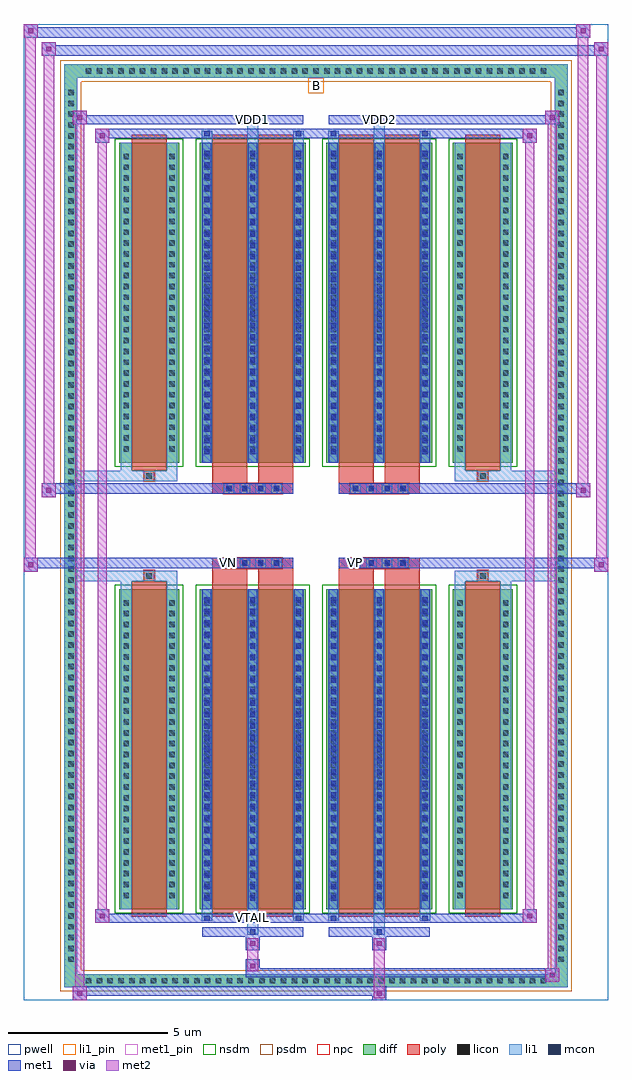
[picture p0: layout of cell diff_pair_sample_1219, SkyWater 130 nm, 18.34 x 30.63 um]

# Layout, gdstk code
import gdstk
lib = gdstk.Library(unit=1e-6, precision=5e-09)
def R(c, l, rs):  # rectangles x0, y0, x1, y1
    for r in rs: c.add(gdstk.rectangle(r[:2], r[2:], *l))
def A(c, l, x, y, w, h, nx, ny, dx, dy):  # array of equal rectangles
    R(c, l, [(x+i*dx, y+j*dy, x+i*dx+w, y+j*dy+h) for i in range(nx) for j in range(ny)])
def P(c, l, *ps):  # polygons
    for p in ps: c.add(gdstk.Polygon(p, *l))
pwell = (64, 44)
diff = (65, 20)
poly = (66, 20)
licon = (66, 44)
li1_pin = (67, 16)
li1 = (67, 20)
mcon = (67, 44)
met1_pin = (68, 16)
met1 = (68, 20)
via = (68, 44)
met2 = (69, 20)
nsdm = (93, 44)
psdm = (94, 20)
npc = (95, 20)

diff_pair_sample_1219 = lib.new_cell('diff_pair_sample_1219')
R(diff_pair_sample_1219, pwell, [(-9.17,-14.88,9.17,15.75), (-6.49,-13.07,-0.01,-0.805), (0.01,-13.07,6.49,-0.805), (-6.49,0.805,-0.01,13.07), (0.01,0.805,6.49,13.07)])
A(diff_pair_sample_1219, diff, -7.345, -14.48, 0.41, 0.41, 43, 2, 0.34, 28.55)
A(diff_pair_sample_1219, diff, -7.9, -13.805, 0.41, 0.41, 1, 81, 0, 0.34)
A(diff_pair_sample_1219, diff, 7.49, -13.805, 0.41, 0.41, 1, 81, 0, 0.34)
R(diff_pair_sample_1219, diff, [(-7.345,-14.48,7.345,-14.07), (-7.9,-13.805,-7.49,13.805), (7.49,-13.805,7.9,13.805), (-6.18,-12.025,-4.29,-1.985), (-3.65,-12.025,-0.32,-1.985), (0.32,-12.025,3.65,-1.985), (4.29,-12.025,6.18,-1.985), (-6.18,1.985,-4.29,12.025), (-3.65,1.985,-0.32,12.025), (0.32,1.985,3.65,12.025), (4.29,1.985,6.18,12.025), (-7.345,14.07,7.345,14.48)])
P(diff_pair_sample_1219, diff, [(7.9,14.48),(-7.9,14.48),(-7.9,-14.07),(-7.49,-14.07),(-7.49,14.07),(7.49,14.07),(7.49,-14.07),(-7.49,-14.07),(-7.9,-14.07),(-7.9,-14.48),(7.9,-14.48)])
A(diff_pair_sample_1219, poly, -2.9, -1.335, 0.33, 0.33, 4, 2, 0.5, 2.34)
A(diff_pair_sample_1219, poly, 1.07, -1.335, 0.33, 0.33, 4, 2, 0.5, 2.34)
R(diff_pair_sample_1219, poly, [(-5.79,-12.275,-4.68,-1.735), (-3.26,-12.275,-2.15,-1.735), (-1.82,-12.275,-0.71,-1.735), (0.71,-12.275,1.82,-1.735), (2.15,-12.275,3.26,-1.735), (4.68,-12.275,5.79,-1.735), (-5.4,-1.735,-5.07,-1.405), (-5.4,-1.735,-5.07,-1.405), (-3.26,-1.735,-2.15,-1.335), (-1.82,-1.735,-0.71,-1.335), (0.71,-1.735,1.82,-1.335), (2.15,-1.735,3.26,-1.335), (5.07,-1.735,5.4,-1.405), (5.07,-1.735,5.4,-1.405), (-3.26,-1.335,-0.71,-1.005), (0.71,-1.335,3.26,-1.005), (-3.26,1.005,-0.71,1.335), (0.71,1.005,3.26,1.335), (-3.26,1.335,-2.15,1.735), (-1.82,1.335,-0.71,1.735), (0.71,1.335,1.82,1.735), (2.15,1.335,3.26,1.735), (-5.4,1.405,-5.07,1.735), (-5.4,1.405,-5.07,1.735), (5.07,1.405,5.4,1.735), (5.07,1.405,5.4,1.735), (-5.79,1.735,-4.68,12.275), (-3.26,1.735,-2.15,12.275), (-1.82,1.735,-0.71,12.275), (0.71,1.735,1.82,12.275), (2.15,1.735,3.26,12.275), (4.68,1.735,5.79,12.275)])
A(diff_pair_sample_1219, licon, -7.225, -14.36, 0.17, 0.17, 43, 2, 0.34, 28.55)
A(diff_pair_sample_1219, licon, -7.78, -13.685, 0.17, 0.17, 1, 81, 0, 0.34)
A(diff_pair_sample_1219, licon, 7.61, -13.685, 0.17, 0.17, 1, 81, 0, 0.34)
A(diff_pair_sample_1219, licon, -6.04, -11.68, 0.17, 0.17, 1, 28, 0, 0.34)
A(diff_pair_sample_1219, licon, -4.6, -11.68, 0.17, 0.17, 1, 28, 0, 0.34)
A(diff_pair_sample_1219, licon, -3.51, -11.68, 0.17, 0.17, 3, 28, 1.44, 0.34)
A(diff_pair_sample_1219, licon, 0.46, -11.68, 0.17, 0.17, 3, 28, 1.44, 0.34)
A(diff_pair_sample_1219, licon, 4.43, -11.68, 0.17, 0.17, 1, 28, 0, 0.34)
A(diff_pair_sample_1219, licon, 5.87, -11.68, 0.17, 0.17, 1, 28, 0, 0.34)
A(diff_pair_sample_1219, licon, -2.82, -1.255, 0.17, 0.17, 4, 2, 0.5, 2.34)
A(diff_pair_sample_1219, licon, 1.15, -1.255, 0.17, 0.17, 4, 2, 0.5, 2.34)
A(diff_pair_sample_1219, licon, -6.04, 2.33, 0.17, 0.17, 1, 28, 0, 0.34)
A(diff_pair_sample_1219, licon, -4.6, 2.33, 0.17, 0.17, 1, 28, 0, 0.34)
A(diff_pair_sample_1219, licon, -3.51, 2.33, 0.17, 0.17, 3, 28, 1.44, 0.34)
A(diff_pair_sample_1219, licon, 0.46, 2.33, 0.17, 0.17, 3, 28, 1.44, 0.34)
A(diff_pair_sample_1219, licon, 4.43, 2.33, 0.17, 0.17, 1, 28, 0, 0.34)
A(diff_pair_sample_1219, licon, 5.87, 2.33, 0.17, 0.17, 1, 28, 0, 0.34)
R(diff_pair_sample_1219, licon, [(-5.32,-1.655,-5.15,-1.485), (5.15,-1.655,5.32,-1.485), (-5.32,1.485,-5.15,1.655), (5.15,1.485,5.32,1.655)])
R(diff_pair_sample_1219, li1_pin, [(-0.25,13.57,0.25,14.07)])
A(diff_pair_sample_1219, li1, -7.305, -14.44, 0.33, 0.33, 43, 2, 0.34, 28.55)
A(diff_pair_sample_1219, li1, -7.86, -13.765, 0.33, 0.33, 1, 81, 0, 0.34)
A(diff_pair_sample_1219, li1, 7.53, -13.765, 0.33, 0.33, 1, 81, 0, 0.34)
A(diff_pair_sample_1219, li1, -3.59, -12.025, 0.33, 10.04, 3, 2, 1.44, 14.01)
A(diff_pair_sample_1219, li1, 0.38, -12.025, 0.33, 10.04, 3, 2, 1.44, 14.01)
A(diff_pair_sample_1219, li1, -3.51, -11.77, 0.17, 0.17, 3, 27, 1.44, 0.36)
A(diff_pair_sample_1219, li1, -3.51, -11.77, 0.17, 9.53, 3, 2, 1.44, 14.01)
A(diff_pair_sample_1219, li1, 0.46, -11.77, 0.17, 0.17, 3, 27, 1.44, 0.36)
A(diff_pair_sample_1219, li1, 0.46, -11.77, 0.17, 9.53, 3, 2, 1.44, 14.01)
A(diff_pair_sample_1219, li1, -6.12, -11.76, 0.33, 0.33, 1, 28, 0, 0.34)
A(diff_pair_sample_1219, li1, -4.68, -11.76, 0.33, 0.33, 1, 28, 0, 0.34)
A(diff_pair_sample_1219, li1, -3.59, -11.76, 0.33, 0.33, 3, 28, 1.44, 0.34)
A(diff_pair_sample_1219, li1, 0.38, -11.76, 0.33, 0.33, 3, 28, 1.44, 0.34)
A(diff_pair_sample_1219, li1, 4.35, -11.76, 0.33, 0.33, 1, 28, 0, 0.34)
A(diff_pair_sample_1219, li1, 5.79, -11.76, 0.33, 0.33, 1, 28, 0, 0.34)
A(diff_pair_sample_1219, li1, -2.9, -1.335, 0.33, 0.33, 4, 2, 0.5, 2.34)
A(diff_pair_sample_1219, li1, 1.07, -1.335, 0.33, 0.33, 4, 2, 0.5, 2.34)
A(diff_pair_sample_1219, li1, -3.51, 2.24, 0.17, 0.17, 3, 27, 1.44, 0.36)
A(diff_pair_sample_1219, li1, 0.46, 2.24, 0.17, 0.17, 3, 27, 1.44, 0.36)
A(diff_pair_sample_1219, li1, -6.12, 2.25, 0.33, 0.33, 1, 28, 0, 0.34)
A(diff_pair_sample_1219, li1, -4.68, 2.25, 0.33, 0.33, 1, 28, 0, 0.34)
A(diff_pair_sample_1219, li1, -3.59, 2.25, 0.33, 0.33, 3, 28, 1.44, 0.34)
A(diff_pair_sample_1219, li1, 0.38, 2.25, 0.33, 0.33, 3, 28, 1.44, 0.34)
A(diff_pair_sample_1219, li1, 4.35, 2.25, 0.33, 0.33, 1, 28, 0, 0.34)
A(diff_pair_sample_1219, li1, 5.79, 2.25, 0.33, 0.33, 1, 28, 0, 0.34)
R(diff_pair_sample_1219, li1, [(-7.9,-14.48,-7.49,-14.07), (-7.9,-14.48,-7.49,-14.07), (-7.49,-14.48,7.49,-14.07), (7.49,-14.48,7.9,-14.07), (7.49,-14.48,7.9,-14.07), (-7.9,-14.07,-7.49,14.07), (7.49,-14.07,7.9,14.07), (-2.15,-12.83,-1.82,-12.025), (-2.07,-12.83,-1.9,-12.66), (1.82,-12.83,2.15,-12.025), (1.9,-12.83,2.07,-12.66), (-3.59,-12.4,-3.26,-12.025), (-3.51,-12.4,-3.34,-12.23), (-0.71,-12.4,-0.38,-12.025), (-0.63,-12.4,-0.46,-12.23), (0.38,-12.4,0.71,-12.025), (0.46,-12.4,0.63,-12.23), (3.26,-12.4,3.59,-12.025), (3.34,-12.4,3.51,-12.23), (-6.12,-12.025,-5.79,-1.985), (-4.68,-12.025,-4.35,-1.985), (4.35,-12.025,4.68,-1.985), (5.79,-12.025,6.12,-1.985), (-6.12,-1.985,-5.79,-1.405), (-4.68,-1.985,-4.35,-1.405), (4.35,-1.985,4.68,-1.405), (5.79,-1.985,6.12,-1.405), (-7.9,-1.735,-5.4,-1.405), (-6.12,-1.735,-5.4,-1.405), (-5.4,-1.735,-5.07,-1.405), (-5.07,-1.735,-4.35,-1.405), (4.35,-1.735,5.07,-1.405), (5.07,-1.735,5.4,-1.405), (5.07,-1.735,7.9,-1.405), (5.4,-1.735,6.12,-1.405), (-7.9,1.405,-5.4,1.735), (-6.12,1.405,-5.4,1.735), (-6.12,1.405,-5.79,1.985), (-5.4,1.405,-5.07,1.735), (-5.07,1.405,-4.35,1.735), (-4.68,1.405,-4.35,1.985), (4.35,1.405,5.07,1.735), (4.35,1.405,4.68,1.985), (5.07,1.405,5.4,1.735), (5.07,1.405,7.9,1.735), (5.4,1.405,6.12,1.735), (5.79,1.405,6.12,1.985), (-6.12,1.985,-5.79,12.025), (-4.68,1.985,-4.35,12.025), (4.35,1.985,4.68,12.025), (5.79,1.985,6.12,12.025), (-3.59,12.025,-3.26,12.4), (-2.15,12.025,-1.82,12.83), (-0.71,12.025,-0.38,12.4), (0.38,12.025,0.71,12.4), (1.82,12.025,2.15,12.83), (3.26,12.025,3.59,12.4), (-3.51,12.23,-3.34,12.4), (-0.63,12.23,-0.46,12.4), (0.46,12.23,0.63,12.4), (3.34,12.23,3.51,12.4), (-2.07,12.66,-1.9,12.83), (1.9,12.66,2.07,12.83), (-7.9,14.07,-7.49,14.48), (-7.9,14.07,-7.49,14.48), (-7.49,14.07,7.49,14.48), (7.49,14.07,7.9,14.48), (7.49,14.07,7.9,14.48)])
A(diff_pair_sample_1219, mcon, -3.51, -11.77, 0.17, 0.17, 3, 27, 1.44, 0.36)
A(diff_pair_sample_1219, mcon, 0.46, -11.77, 0.17, 0.17, 3, 27, 1.44, 0.36)
A(diff_pair_sample_1219, mcon, -2.82, -1.255, 0.17, 0.17, 4, 2, 0.5, 2.34)
A(diff_pair_sample_1219, mcon, 1.15, -1.255, 0.17, 0.17, 4, 2, 0.5, 2.34)
A(diff_pair_sample_1219, mcon, -3.51, 2.24, 0.17, 0.17, 3, 27, 1.44, 0.36)
A(diff_pair_sample_1219, mcon, 0.46, 2.24, 0.17, 0.17, 3, 27, 1.44, 0.36)
R(diff_pair_sample_1219, mcon, [(-2.07,-12.83,-1.9,-12.66), (1.9,-12.83,2.07,-12.66), (-3.51,-12.4,-3.34,-12.23), (-0.63,-12.4,-0.46,-12.23), (0.46,-12.4,0.63,-12.23), (3.34,-12.4,3.51,-12.23), (-3.51,12.23,-3.34,12.4), (-0.63,12.23,-0.46,12.4), (0.46,12.23,0.63,12.4), (3.34,12.23,3.51,12.4), (-2.07,12.66,-1.9,12.83), (1.9,12.66,2.07,12.83)])
R(diff_pair_sample_1219, met1_pin, [(-2.12,-12.44,-1.85,-12.17), (-2.87,-1.295,-2.6,-1.025), (1.1,-1.295,1.37,-1.025), (-2.12,12.62,-1.85,12.89), (1.85,12.62,2.12,12.89)])
A(diff_pair_sample_1219, met1, -3.57, -12.025, 0.29, 10.04, 3, 2, 1.44, 14.01)
A(diff_pair_sample_1219, met1, 0.4, -12.025, 0.29, 10.04, 3, 2, 1.44, 14.01)
A(diff_pair_sample_1219, met1, -3.57, -11.83, 0.29, 0.29, 3, 27, 1.44, 0.36)
A(diff_pair_sample_1219, met1, 0.4, -11.83, 0.29, 0.29, 3, 27, 1.44, 0.36)
A(diff_pair_sample_1219, met1, -2.88, -1.315, 0.29, 0.29, 4, 2, 0.5, 2.34)
A(diff_pair_sample_1219, met1, 1.09, -1.315, 0.29, 0.29, 4, 2, 0.5, 2.34)
A(diff_pair_sample_1219, met1, -3.57, 2.18, 0.29, 0.29, 3, 27, 1.44, 0.36)
A(diff_pair_sample_1219, met1, 0.4, 2.18, 0.29, 0.29, 3, 27, 1.44, 0.36)
R(diff_pair_sample_1219, met1, [(-7.63,-14.88,-7.2,-14.45), (1.77,-14.88,2.2,-14.45), (-7.63,-14.74,2.2,-14.45), (7.2,-14.31,7.63,-13.88), (-2.2,-14.17,7.63,-13.88), (-2.2,-14.03,-1.77,-13.6), (-2.2,-13.32,-1.77,-12.89), (1.77,-13.32,2.2,-12.89), (-3.57,-12.89,-0.4,-12.6), (-2.13,-12.89,-1.84,-12.6), (0.4,-12.89,3.57,-12.6), (1.84,-12.89,2.13,-12.6), (-6.92,-12.46,-6.49,-12.03), (-6.92,-12.46,-3.57,-12.17), (-3.57,-12.46,-3.28,-12.17), (-3.57,-12.46,-0.4,-12.17), (-0.69,-12.46,-0.4,-12.17), (-0.4,-12.46,0.4,-12.17), (0.4,-12.46,0.69,-12.17), (0.4,-12.46,3.57,-12.17), (3.28,-12.46,3.57,-12.17), (3.57,-12.46,6.92,-12.17), (6.49,-12.46,6.92,-12.03), (-9.17,-1.435,-8.74,-1.005), (8.74,-1.435,9.17,-1.005), (-9.17,-1.335,-0.71,-1.005), (-3.26,-1.335,-0.71,-1.005), (0.71,-1.335,3.26,-1.005), (0.71,-1.335,9.17,-1.005), (-8.6,0.905,-8.17,1.335), (8.17,0.905,8.6,1.335), (-8.6,1.005,-3.26,1.335), (-3.26,1.005,-0.71,1.335), (0.71,1.005,3.26,1.335), (3.26,1.005,8.6,1.335), (-6.92,12.03,-6.49,12.46), (6.49,12.03,6.92,12.46), (-6.92,12.17,-3.57,12.46), (-3.57,12.17,-3.28,12.46), (-3.57,12.17,-0.4,12.46), (-0.69,12.17,-0.4,12.46), (-0.4,12.17,0.4,12.46), (0.4,12.17,0.69,12.46), (0.4,12.17,3.57,12.46), (3.28,12.17,3.57,12.46), (3.57,12.17,6.92,12.46), (-7.63,12.6,-7.2,13.03), (-7.63,12.6,-3.57,12.89), (-3.57,12.6,-0.4,12.89), (-2.13,12.6,-1.84,12.89), (0.4,12.6,3.57,12.89), (1.84,12.6,2.13,12.89), (3.57,12.6,7.63,12.89), (7.2,12.6,7.63,13.03), (-8.6,14.75,-8.17,15.18), (-8.6,14.75,-6.49,15.08), (-6.49,14.75,6.49,15.08), (6.49,14.75,9.17,15.08), (8.74,14.75,9.17,15.18), (-9.17,15.32,-8.74,15.75), (-9.17,15.32,-6.49,15.65), (-6.49,15.32,6.49,15.65), (6.49,15.32,8.6,15.65), (8.17,15.32,8.6,15.75)])
R(diff_pair_sample_1219, via, [(-7.49,-14.74,-7.34,-14.59), (1.91,-14.74,2.06,-14.59), (7.34,-14.17,7.49,-14.02), (-2.06,-13.89,-1.91,-13.74), (-2.06,-13.18,-1.91,-13.03), (1.91,-13.18,2.06,-13.03), (-6.78,-12.32,-6.63,-12.17), (6.63,-12.32,6.78,-12.17), (-9.03,-1.295,-8.88,-1.145), (8.88,-1.295,9.03,-1.145), (-8.46,1.045,-8.31,1.195), (8.31,1.045,8.46,1.195), (-6.78,12.17,-6.63,12.32), (6.63,12.17,6.78,12.32), (-7.49,12.74,-7.34,12.89), (7.34,12.74,7.49,12.89), (-8.46,14.89,-8.31,15.04), (8.88,14.89,9.03,15.04), (-9.03,15.46,-8.88,15.61), (8.31,15.46,8.46,15.61)])
R(diff_pair_sample_1219, met2, [(-7.63,-14.88,-7.2,-14.45), (-7.56,-14.88,-7.27,13.03), (-7.27,-14.88,-7.2,-14.45), (-7.58,-14.83,-7.25,-14.5), (1.82,-14.83,2.15,-14.5), (1.82,-14.5,2.15,-13.27), (7.2,-14.31,7.63,-13.88), (7.27,-14.31,7.56,13.03), (7.56,-14.31,7.63,-13.88), (7.25,-14.26,7.58,-13.93), (-2.15,-13.98,-1.82,-13.65), (-2.15,-13.65,-1.82,-13.27), (-2.15,-13.27,-1.82,-12.94), (1.82,-13.27,2.15,-12.94), (-6.92,-12.46,-6.49,-12.03), (-6.85,-12.46,-6.56,12.46), (-6.56,-12.46,-6.49,-12.03), (6.49,-12.46,6.92,-12.03), (6.56,-12.46,6.85,12.46), (6.85,-12.46,6.92,-12.03), (-6.87,-12.41,-6.54,-12.08), (6.54,-12.41,6.87,-12.08), (-9.17,-1.435,-8.74,-1.005), (-9.12,-1.435,-8.79,15.75), (-8.79,-1.435,-8.74,-1.005), (8.74,-1.435,9.17,-1.005), (8.79,-1.435,9.12,15.18), (9.12,-1.435,9.17,-1.005), (-9.12,-1.385,-8.79,-1.055), (8.79,-1.385,9.12,-1.055), (-8.6,0.905,-8.17,1.335), (-8.55,0.905,-8.22,15.18), (-8.22,0.905,-8.17,1.335), (8.17,0.905,8.6,1.335), (8.22,0.905,8.55,15.75), (8.55,0.905,8.6,1.335), (-8.55,0.955,-8.22,1.285), (8.22,0.955,8.55,1.285), (-6.92,12.03,-6.49,12.46), (-6.56,12.03,-6.49,12.46), (6.49,12.03,6.92,12.46), (6.85,12.03,6.92,12.46), (-6.87,12.08,-6.54,12.41), (6.54,12.08,6.87,12.41), (-7.63,12.6,-7.2,13.03), (-7.27,12.6,-7.2,13.03), (7.2,12.6,7.63,13.03), (7.56,12.6,7.63,13.03), (-7.58,12.65,-7.25,12.98), (7.25,12.65,7.58,12.98), (-8.6,14.75,-8.17,15.18), (-8.22,14.75,-8.17,15.18), (8.74,14.75,9.17,15.18), (9.12,14.75,9.17,15.18), (-8.55,14.8,-8.22,15.13), (8.79,14.8,9.12,15.13), (-9.17,15.32,-8.74,15.75), (-8.79,15.32,-8.74,15.75), (8.17,15.32,8.6,15.75), (8.55,15.32,8.6,15.75), (-9.12,15.37,-8.79,15.7), (8.22,15.37,8.55,15.7)])
R(diff_pair_sample_1219, nsdm, [(-6.31,-12.155,-4.16,-1.855), (-3.78,-12.155,-0.19,-1.855), (0.19,-12.155,3.78,-1.855), (4.16,-12.155,6.31,-1.855), (-6.31,1.855,-4.16,12.155), (-3.78,1.855,-0.19,12.155), (0.19,1.855,3.78,12.155), (4.16,1.855,6.31,12.155)])
P(diff_pair_sample_1219, psdm, [(8.03,14.61),(-8.03,14.61),(-8.03,-13.94),(-7.36,-13.94),(-7.36,13.94),(7.36,13.94),(7.36,-13.94),(-7.36,-13.94),(-8.03,-13.94),(-8.03,-14.61),(8.03,-14.61)])
A(diff_pair_sample_1219, npc, -2.92, -1.355, 0.37, 0.37, 4, 2, 0.5, 2.34)
A(diff_pair_sample_1219, npc, 1.05, -1.355, 0.37, 0.37, 4, 2, 0.5, 2.34)
R(diff_pair_sample_1219, npc, [(-5.42,-1.755,-5.05,-1.385), (5.05,-1.755,5.42,-1.385), (-2.92,-1.355,-2.05,-0.985), (-2.92,-1.355,-2.05,-0.985), (-2.42,-1.355,-1.55,-0.985), (-2.42,-1.355,-1.55,-0.985), (-1.92,-1.355,-1.05,-0.985), (-1.92,-1.355,-1.05,-0.985), (1.05,-1.355,1.92,-0.985), (1.05,-1.355,1.92,-0.985), (1.55,-1.355,2.42,-0.985), (1.55,-1.355,2.42,-0.985), (2.05,-1.355,2.92,-0.985), (2.05,-1.355,2.92,-0.985), (-2.92,0.985,-2.05,1.355), (-2.92,0.985,-2.05,1.355), (-2.42,0.985,-1.55,1.355), (-2.42,0.985,-1.55,1.355), (-1.92,0.985,-1.05,1.355), (-1.92,0.985,-1.05,1.355), (1.05,0.985,1.92,1.355), (1.05,0.985,1.92,1.355), (1.55,0.985,2.42,1.355), (1.55,0.985,2.42,1.355), (2.05,0.985,2.92,1.355), (2.05,0.985,2.92,1.355), (-5.42,1.385,-5.05,1.755), (5.05,1.385,5.42,1.755)])
diff_pair_sample_1219.add(gdstk.Label('VTAIL', (-1.985,-12.305), layer=68, texttype=5))
diff_pair_sample_1219.add(gdstk.Label('VN', (-2.735,-1.16), layer=68, texttype=5))
diff_pair_sample_1219.add(gdstk.Label('VP', (1.235,-1.16), layer=68, texttype=5))
diff_pair_sample_1219.add(gdstk.Label('B', (0,13.82), layer=67, texttype=5))
diff_pair_sample_1219.add(gdstk.Label('VDD2', (1.985,12.755), layer=68, texttype=5))
diff_pair_sample_1219.add(gdstk.Label('VDD1', (-1.985,12.755), layer=68, texttype=5))

lib.write_gds('diff_pair_sample_1219.gds')
